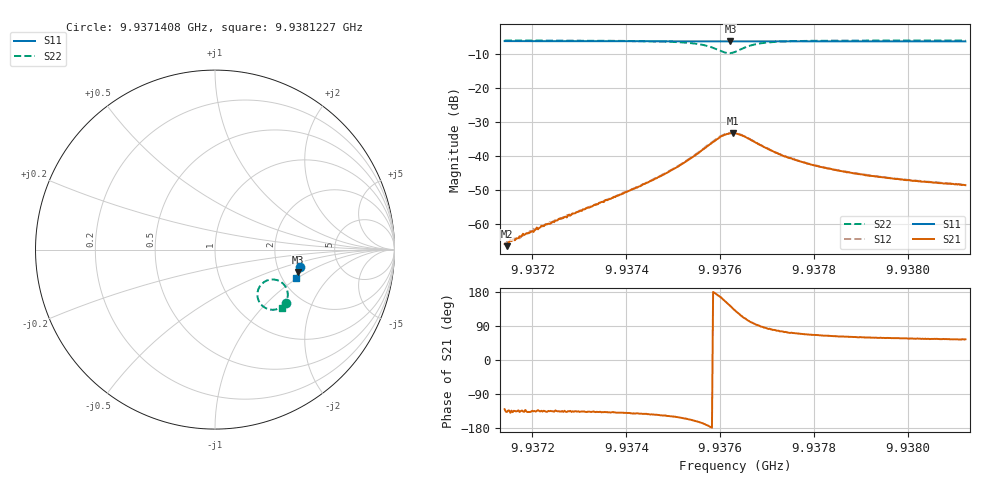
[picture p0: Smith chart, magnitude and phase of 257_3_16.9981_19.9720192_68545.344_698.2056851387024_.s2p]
#  HZ  S  RI  R  50.00
! Rohde & Schwarz Vector Network Analyzer
! Rohde-Schwarz,ZNB20-2Port,1311601062101988,3.16
! Created: UTC 3/20/2024, 11:03:38 PM
! freq[Hz]  re:S11  im:S11  re:S21  im:S21  re:S12  im:S12  re:S22  im:S22
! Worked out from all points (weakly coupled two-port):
!   401 points, 9.9371408 GHz to 9.9381227 GHz, reference 50 ohm
!   highest |S21| = -33.22 dB at 9.9376268 GHz (marker M1); lowest = -66.4 dB at 9.9371457 GHz (marker M2)
!   lowest |S11| = -6.4 dB at 9.9376219 GHz (marker M3), VSWR 2.84, Z = 126 - j41.7 ohm
!   |S11| at or under -10 dB: nowhere
!   |S22| runs from -9.8 to -6.1 dB; largest |S21 - S12| = 0.00096
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9.93714077e9  0.4745 -0.0965  -0.000331 -0.000395  -0.000394 -0.00035  0.394 -0.3002
9.93714568e9  0.4743 -0.0969  -0.000351 -0.000325  -0.000402 -0.000381  0.3937 -0.3006
9.9371555e9  0.4741 -0.0976  -0.000391 -0.000409  -0.000414 -0.000399  0.393 -0.3014
9.93718496e9  0.4735 -0.0997  -0.00048 -0.000533  -0.000505 -0.000503  0.3906 -0.3035
9.93719969e9  0.4732 -0.1006  -0.000553 -0.000574  -0.000556 -0.000551  0.3894 -0.3048
9.93722424e9  0.4727 -0.1022  -0.000652 -0.000678  -0.000682 -0.000672  0.3873 -0.3067
9.93730525e9  0.4711 -0.1077  -0.00114 -0.00109  -0.00117 -0.00109  0.3792 -0.3137
9.93742799e9  0.4686 -0.116  -0.00283 -0.00224  -0.0029 -0.00227  0.3591 -0.3264
9.93746972e9  0.4678 -0.119  -0.00406 -0.00284  -0.00419 -0.00277  0.3462 -0.3314
9.93752128e9  0.4663 -0.1224  -0.00702 -0.00348  -0.00723 -0.00343  0.3194 -0.3351
9.93756792e9  0.4644 -0.1255  -0.013 -0.00239  -0.0133 -0.00212  0.2716 -0.3193
9.93760229e9  0.4629 -0.127  -0.0189 0.00515  -0.0188 0.00583  0.2361 -0.2513
9.93762193e9  0.4624 -0.1273  -0.0171 0.0132  -0.017 0.014  0.2606 -0.1912
9.93762684e9  0.4625 -0.1273  -0.0158 0.0151  -0.0156 0.0156  0.274 -0.1802
9.93763174e9  0.4626 -0.1275  -0.0142 0.0165  -0.0138 0.017  0.2889 -0.1722
9.93765875e9  0.4629 -0.129  -0.00473 0.0177  -0.00422 0.0181  0.3636 -0.1779
9.93768821e9  0.4631 -0.131  0.000538 0.0143  0.000884 0.0144  0.3973 -0.2146
9.93773239e9  0.4622 -0.1344  0.0026 0.00992  0.00271 0.00999  0.4057 -0.2533
9.93779622e9  0.4609 -0.1389  0.00299 0.00681  0.00313 0.00683  0.4004 -0.2813
9.93786741e9  0.4593 -0.1438  0.00279 0.00517  0.00291 0.00518  0.3932 -0.2974
9.9379607e9  0.4571 -0.1499  0.00253 0.00405  0.00263 0.00399  0.3851 -0.3102
9.93812272e9  0.4526 -0.1604  0.00217 0.00306  0.00228 0.00303  0.3732 -0.3249
